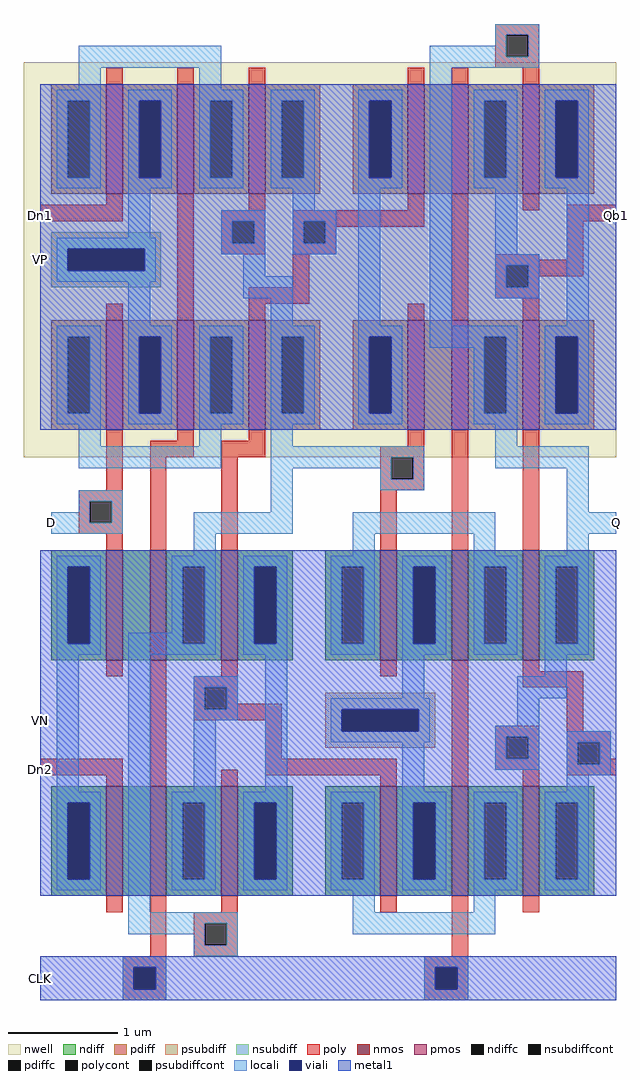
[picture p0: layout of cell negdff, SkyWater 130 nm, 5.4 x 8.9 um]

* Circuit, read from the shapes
.subckt negdff CLK D Dn1 Dn2 Q Qb1 VN VP
XM1 n1 Dn2 VN VN sky130_fd_pr__nfet_01v8 w=1 l=0.15
XM2 n2 D VN VN sky130_fd_pr__nfet_01v8 w=1 l=0.15
XM3 n3 CLK n1 VN sky130_fd_pr__nfet_01v8 w=1 l=0.15
XM4 n4 CLK n2 VN sky130_fd_pr__nfet_01v8 w=1 l=0.15
XM5 VN n4 n3 VN sky130_fd_pr__nfet_01v8 w=1 l=0.15
XM6 VN n3 n4 VN sky130_fd_pr__nfet_01v8 w=1 l=0.15
XM7 VN n3 n5 VN sky130_fd_pr__nfet_01v8 w=1 l=0.15
XM8 VN n4 n6 VN sky130_fd_pr__nfet_01v8 w=1 l=0.15
XM9 n5 CLK VN VN sky130_fd_pr__nfet_01v8 w=1 l=0.15
XM10 n6 CLK VN VN sky130_fd_pr__nfet_01v8 w=1 l=0.15
XM11 Qb1 Q n5 VN sky130_fd_pr__nfet_01v8 w=1 l=0.15
XM12 Q Qb1 n6 VN sky130_fd_pr__nfet_01v8 w=1 l=0.15
XM13 VP D n7 VP sky130_fd_pr__pfet_01v8 w=1 l=0.15
XM14 VP Dn1 n8 VP sky130_fd_pr__pfet_01v8 w=1 l=0.15
XM15 n7 CLK VP VP sky130_fd_pr__pfet_01v8 w=1 l=0.15
XM16 n8 CLK VP VP sky130_fd_pr__pfet_01v8 w=1 l=0.15
XM17 n4 n3 n7 VP sky130_fd_pr__pfet_01v8 w=1 l=0.15
XM18 n3 n4 n8 VP sky130_fd_pr__pfet_01v8 w=1 l=0.15
XM19 n9 n4 VP VP sky130_fd_pr__pfet_01v8 w=1 l=0.15
XM20 n10 n3 VP VP sky130_fd_pr__pfet_01v8 w=1 l=0.15
XM21 Q CLK n9 VP sky130_fd_pr__pfet_01v8 w=1 l=0.15
XM22 Qb1 CLK n10 VP sky130_fd_pr__pfet_01v8 w=1 l=0.15
XM23 VP Qb1 Q VP sky130_fd_pr__pfet_01v8 w=1 l=0.15
XM24 VP Q Qb1 VP sky130_fd_pr__pfet_01v8 w=1 l=0.15
.ends

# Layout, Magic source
magic
tech sky130A
<< nwell >>
rect -75 335 465 695
<< nmos >>
rect 0 150 15 250
rect 40 150 55 250
rect 105 150 120 250
rect 250 150 265 250
rect 315 150 330 250
rect 380 150 395 250
rect 0 -65 15 35
rect 40 -65 55 35
rect 105 -65 120 35
rect 250 -65 265 35
rect 315 -65 330 35
rect 380 -65 395 35
<< pmos >>
rect 0 575 15 675
rect 65 575 80 675
rect 130 575 145 675
rect 275 575 290 675
rect 315 575 330 675
rect 380 575 395 675
rect 0 360 15 460
rect 65 360 80 460
rect 130 360 145 460
rect 275 360 290 460
rect 315 360 330 460
rect 380 360 395 460
<< ndiff >>
rect -50 235 0 250
rect -50 165 -35 235
rect -15 165 0 235
rect -50 150 0 165
rect 15 150 40 250
rect 55 235 105 250
rect 55 165 70 235
rect 90 165 105 235
rect 55 150 105 165
rect 120 235 170 250
rect 120 165 135 235
rect 155 165 170 235
rect 120 150 170 165
rect 200 235 250 250
rect 200 165 215 235
rect 235 165 250 235
rect 200 150 250 165
rect 265 235 315 250
rect 265 165 280 235
rect 300 165 315 235
rect 265 150 315 165
rect 330 235 380 250
rect 330 165 345 235
rect 365 165 380 235
rect 330 150 380 165
rect 395 235 445 250
rect 395 165 410 235
rect 430 165 445 235
rect 395 150 445 165
rect -50 20 0 35
rect -50 -50 -35 20
rect -15 -50 0 20
rect -50 -65 0 -50
rect 15 -65 40 35
rect 55 20 105 35
rect 55 -50 70 20
rect 90 -50 105 20
rect 55 -65 105 -50
rect 120 20 170 35
rect 120 -50 135 20
rect 155 -50 170 20
rect 120 -65 170 -50
rect 200 20 250 35
rect 200 -50 215 20
rect 235 -50 250 20
rect 200 -65 250 -50
rect 265 20 315 35
rect 265 -50 280 20
rect 300 -50 315 20
rect 265 -65 315 -50
rect 330 20 380 35
rect 330 -50 345 20
rect 365 -50 380 20
rect 330 -65 380 -50
rect 395 20 445 35
rect 395 -50 410 20
rect 430 -50 445 20
rect 395 -65 445 -50
<< pdiff >>
rect -50 660 0 675
rect -50 590 -35 660
rect -15 590 0 660
rect -50 575 0 590
rect 15 660 65 675
rect 15 590 30 660
rect 50 590 65 660
rect 15 575 65 590
rect 80 660 130 675
rect 80 590 95 660
rect 115 590 130 660
rect 80 575 130 590
rect 145 660 195 675
rect 145 590 160 660
rect 180 590 195 660
rect 145 575 195 590
rect 225 660 275 675
rect 225 590 240 660
rect 260 590 275 660
rect 225 575 275 590
rect 290 575 315 675
rect 330 660 380 675
rect 330 590 345 660
rect 365 590 380 660
rect 330 575 380 590
rect 395 660 445 675
rect 395 590 410 660
rect 430 590 445 660
rect 395 575 445 590
rect -50 445 0 460
rect -50 375 -35 445
rect -15 375 0 445
rect -50 360 0 375
rect 15 445 65 460
rect 15 375 30 445
rect 50 375 65 445
rect 15 360 65 375
rect 80 445 130 460
rect 80 375 95 445
rect 115 375 130 445
rect 80 360 130 375
rect 145 445 195 460
rect 145 375 160 445
rect 180 375 195 445
rect 145 360 195 375
rect 225 445 275 460
rect 225 375 240 445
rect 260 375 275 445
rect 225 360 275 375
rect 290 360 315 460
rect 330 445 380 460
rect 330 375 345 445
rect 365 375 380 445
rect 330 360 380 375
rect 395 445 445 460
rect 395 375 410 445
rect 430 375 445 445
rect 395 360 445 375
<< ndiffc >>
rect -35 165 -15 235
rect 70 165 90 235
rect 135 165 155 235
rect 215 165 235 235
rect 280 165 300 235
rect 345 165 365 235
rect 410 165 430 235
rect -35 -50 -15 20
rect 70 -50 90 20
rect 135 -50 155 20
rect 215 -50 235 20
rect 280 -50 300 20
rect 345 -50 365 20
rect 410 -50 430 20
<< pdiffc >>
rect -35 590 -15 660
rect 30 590 50 660
rect 95 590 115 660
rect 160 590 180 660
rect 240 590 260 660
rect 345 590 365 660
rect 410 590 430 660
rect -35 375 -15 445
rect 30 375 50 445
rect 95 375 115 445
rect 160 375 180 445
rect 240 375 260 445
rect 345 375 365 445
rect 410 375 430 445
<< psubdiff >>
rect 200 105 300 120
rect 200 85 215 105
rect 285 85 300 105
rect 200 70 300 85
<< nsubdiff >>
rect -50 525 50 540
rect -50 505 -35 525
rect 35 505 50 525
rect -50 490 50 505
<< psubdiffcont >>
rect 215 85 285 105
<< nsubdiffcont >>
rect -35 505 35 525
<< poly >>
rect 355 720 395 730
rect 355 700 365 720
rect 385 700 395 720
rect 355 690 395 700
rect 0 675 15 690
rect 65 675 80 690
rect 130 675 145 690
rect 275 675 290 690
rect 315 675 330 690
rect 380 675 395 690
rect 0 565 15 575
rect -60 550 15 565
rect 0 460 15 475
rect 65 460 80 575
rect 130 560 145 575
rect 275 560 290 575
rect 105 550 145 560
rect 105 530 115 550
rect 135 530 145 550
rect 105 520 145 530
rect 170 550 290 560
rect 170 530 180 550
rect 200 545 290 550
rect 200 530 210 545
rect 170 520 210 530
rect 170 490 185 520
rect 130 475 185 490
rect 130 460 145 475
rect 275 460 290 475
rect 315 460 330 575
rect 380 560 395 575
rect 420 550 465 565
rect 355 515 395 520
rect 420 515 435 550
rect 355 510 435 515
rect 355 490 365 510
rect 385 500 435 510
rect 385 490 395 500
rect 355 480 395 490
rect 380 460 395 480
rect 0 305 15 360
rect 65 350 80 360
rect 130 350 145 360
rect -25 295 15 305
rect -25 275 -15 295
rect 5 275 15 295
rect -25 265 15 275
rect 0 250 15 265
rect 40 335 80 350
rect 105 335 145 350
rect 275 345 290 360
rect 250 335 290 345
rect 40 250 55 335
rect 105 250 120 335
rect 250 315 260 335
rect 280 315 290 335
rect 250 305 290 315
rect 250 250 265 305
rect 315 250 330 360
rect 380 250 395 360
rect 0 135 15 150
rect -60 45 15 60
rect 0 35 15 45
rect 40 35 55 150
rect 105 135 120 150
rect 250 135 265 150
rect 80 125 120 135
rect 80 105 90 125
rect 110 110 120 125
rect 110 105 160 110
rect 80 95 160 105
rect 145 60 160 95
rect 105 35 120 50
rect 145 45 265 60
rect 250 35 265 45
rect 315 35 330 150
rect 380 140 395 150
rect 380 125 435 140
rect 355 80 395 90
rect 355 60 365 80
rect 385 60 395 80
rect 355 50 395 60
rect 380 35 395 50
rect 420 85 435 125
rect 420 75 460 85
rect 420 55 430 75
rect 450 60 460 75
rect 450 55 465 60
rect 420 45 465 55
rect 0 -80 15 -65
rect 40 -120 55 -65
rect 105 -80 120 -65
rect 250 -80 265 -65
rect 80 -90 120 -80
rect 80 -110 90 -90
rect 110 -110 120 -90
rect 80 -120 120 -110
rect 315 -120 330 -65
rect 380 -80 395 -65
rect 15 -130 55 -120
rect 15 -150 25 -130
rect 45 -150 55 -130
rect 15 -160 55 -150
rect 290 -130 330 -120
rect 290 -150 300 -130
rect 320 -150 330 -130
rect 290 -160 330 -150
<< polycont >>
rect 365 700 385 720
rect 115 530 135 550
rect 180 530 200 550
rect 365 490 385 510
rect -15 275 5 295
rect 260 315 280 335
rect 90 105 110 125
rect 365 60 385 80
rect 430 55 450 75
rect 90 -110 110 -90
rect 25 -150 45 -130
rect 300 -150 320 -130
<< locali >>
rect 355 720 395 730
rect 355 710 365 720
rect -25 690 105 710
rect -25 670 -5 690
rect 85 670 105 690
rect 295 700 365 710
rect 385 700 395 720
rect 295 690 395 700
rect -45 660 -5 670
rect -45 590 -35 660
rect -15 590 -5 660
rect -45 580 -5 590
rect 20 660 60 670
rect 20 590 30 660
rect 50 590 60 660
rect 20 580 60 590
rect 85 660 125 670
rect 85 590 95 660
rect 115 590 125 660
rect 85 580 125 590
rect 150 660 190 670
rect 150 590 160 660
rect 180 590 190 660
rect 150 580 190 590
rect 20 535 40 580
rect 170 560 190 580
rect 230 660 270 670
rect 230 590 240 660
rect 260 590 270 660
rect 230 580 270 590
rect 105 550 145 560
rect -45 525 45 535
rect -45 505 -35 525
rect 35 505 45 525
rect 105 530 115 550
rect 135 530 145 550
rect 105 520 145 530
rect 170 550 210 560
rect 170 530 180 550
rect 200 530 210 550
rect 170 520 210 530
rect -45 495 45 505
rect 125 500 145 520
rect 20 455 40 495
rect 125 480 170 500
rect 150 455 170 480
rect 230 455 250 580
rect 295 455 315 690
rect 335 660 375 670
rect 335 590 345 660
rect 365 590 375 660
rect 335 580 375 590
rect 400 660 440 670
rect 400 590 410 660
rect 430 590 440 660
rect 400 580 440 590
rect 355 520 375 580
rect 355 510 395 520
rect 355 490 365 510
rect 385 490 395 510
rect 355 480 395 490
rect 420 455 440 580
rect -45 445 -5 455
rect -45 375 -35 445
rect -15 375 -5 445
rect -45 365 -5 375
rect 20 445 60 455
rect 20 375 30 445
rect 50 375 60 445
rect 20 365 60 375
rect 85 445 125 455
rect 85 375 95 445
rect 115 375 125 445
rect 85 365 125 375
rect 150 445 190 455
rect 150 375 160 445
rect 180 375 190 445
rect 150 365 190 375
rect 230 445 270 455
rect 230 375 240 445
rect 260 375 270 445
rect 295 445 375 455
rect 295 435 345 445
rect 230 365 270 375
rect 335 375 345 435
rect 365 375 375 445
rect 335 365 375 375
rect 400 445 440 455
rect 400 375 410 445
rect 430 375 440 445
rect 400 365 440 375
rect -25 345 -5 365
rect 85 345 105 365
rect -25 325 105 345
rect 150 345 170 365
rect 355 345 375 365
rect 150 335 290 345
rect 150 325 260 335
rect -25 295 15 305
rect -25 285 -15 295
rect -50 275 -15 285
rect 5 275 15 295
rect 150 285 170 325
rect 250 315 260 325
rect 280 315 290 335
rect 355 325 440 345
rect 250 305 290 315
rect 420 285 440 325
rect -50 265 15 275
rect 80 265 170 285
rect 225 265 355 285
rect 80 245 100 265
rect 225 245 245 265
rect 335 245 355 265
rect 420 265 465 285
rect 420 245 440 265
rect -45 235 -5 245
rect -45 165 -35 235
rect -15 165 -5 235
rect 60 235 100 245
rect 60 175 70 235
rect -45 155 -5 165
rect 20 165 70 175
rect 90 165 100 235
rect 20 155 100 165
rect 125 235 165 245
rect 125 165 135 235
rect 155 165 165 235
rect 125 155 165 165
rect 205 235 245 245
rect 205 165 215 235
rect 235 165 245 235
rect 205 155 245 165
rect 270 235 310 245
rect 270 165 280 235
rect 300 165 310 235
rect 270 155 310 165
rect 335 235 375 245
rect 335 165 345 235
rect 365 165 375 235
rect 335 155 375 165
rect 400 235 440 245
rect 400 165 410 235
rect 430 165 440 235
rect 400 155 440 165
rect -45 30 -25 155
rect -45 20 -5 30
rect -45 -50 -35 20
rect -15 -50 -5 20
rect -45 -60 -5 -50
rect 20 -80 40 155
rect 80 125 120 135
rect 80 105 90 125
rect 110 105 120 125
rect 80 95 120 105
rect 80 30 100 95
rect 145 30 165 155
rect 270 115 290 155
rect 400 135 420 155
rect 375 115 420 135
rect 205 105 295 115
rect 205 85 215 105
rect 285 85 295 105
rect 375 90 395 115
rect 205 75 295 85
rect 355 80 395 90
rect 270 30 290 75
rect 355 60 365 80
rect 385 60 395 80
rect 355 50 395 60
rect 420 75 460 85
rect 420 55 430 75
rect 450 55 460 75
rect 420 45 460 55
rect 420 30 440 45
rect 60 20 100 30
rect 60 -50 70 20
rect 90 -50 100 20
rect 60 -60 100 -50
rect 125 20 165 30
rect 125 -50 135 20
rect 155 -50 165 20
rect 125 -60 165 -50
rect 205 20 245 30
rect 205 -50 215 20
rect 235 -50 245 20
rect 205 -60 245 -50
rect 270 20 310 30
rect 270 -50 280 20
rect 300 -50 310 20
rect 270 -60 310 -50
rect 335 20 375 30
rect 335 -50 345 20
rect 365 -50 375 20
rect 335 -60 375 -50
rect 400 20 440 30
rect 400 -50 410 20
rect 430 -50 440 20
rect 400 -60 440 -50
rect 225 -80 245 -60
rect 335 -80 355 -60
rect 20 -90 120 -80
rect 20 -100 90 -90
rect 80 -110 90 -100
rect 110 -110 120 -90
rect 225 -100 355 -80
rect 80 -120 120 -110
rect 15 -130 55 -120
rect 15 -150 25 -130
rect 45 -150 55 -130
rect 15 -160 55 -150
rect 290 -130 330 -120
rect 290 -150 300 -130
rect 320 -150 330 -130
rect 290 -160 330 -150
<< viali >>
rect 30 590 50 660
rect 240 590 260 660
rect -35 505 35 525
rect 410 590 430 660
rect 30 375 50 445
rect 240 375 260 445
rect 410 375 430 445
rect -35 165 -15 235
rect 135 165 155 235
rect 280 165 300 235
rect -35 -50 -15 20
rect 215 85 285 105
rect 135 -50 155 20
rect 280 -50 300 20
rect 25 -150 45 -130
rect 300 -150 320 -130
<< metal1 >>
rect -60 660 465 675
rect -60 590 30 660
rect 50 590 240 660
rect 260 590 410 660
rect 430 590 465 660
rect -60 525 465 590
rect -60 505 -35 525
rect 35 505 465 525
rect -60 445 465 505
rect -60 375 30 445
rect 50 375 240 445
rect 260 375 410 445
rect 430 375 465 445
rect -60 360 465 375
rect -60 235 465 250
rect -60 165 -35 235
rect -15 165 135 235
rect 155 165 280 235
rect 300 165 465 235
rect -60 105 465 165
rect -60 85 215 105
rect 285 85 465 105
rect -60 20 465 85
rect -60 -50 -35 20
rect -15 -50 135 20
rect 155 -50 280 20
rect 300 -50 465 20
rect -60 -65 465 -50
rect -60 -130 465 -120
rect -60 -150 25 -130
rect 45 -150 300 -130
rect 320 -150 465 -130
rect -60 -160 465 -150
<< labels >>
flabel poly -60 50 -60 50 7 FreeSans 80 0 -40 0 Dn2
flabel metal1 -60 95 -60 95 7 FreeSans 80 0 -80 0 VN
flabel metal1 -60 -140 -60 -140 7 FreeSans 80 0 -80 0 CLK
flabel poly -60 555 -60 555 7 FreeSans 80 0 -40 0 Dn1
flabel locali -50 275 -50 275 7 FreeSans 80 0 -40 0 D
flabel metal1 -60 515 -60 515 7 FreeSans 80 0 -40 0 VP
flabel locali 465 275 465 275 3 FreeSans 80 0 40 0 Q
flabel poly 465 555 465 555 3 FreeSans 80 0 40 0 Qb1
<< end >>
